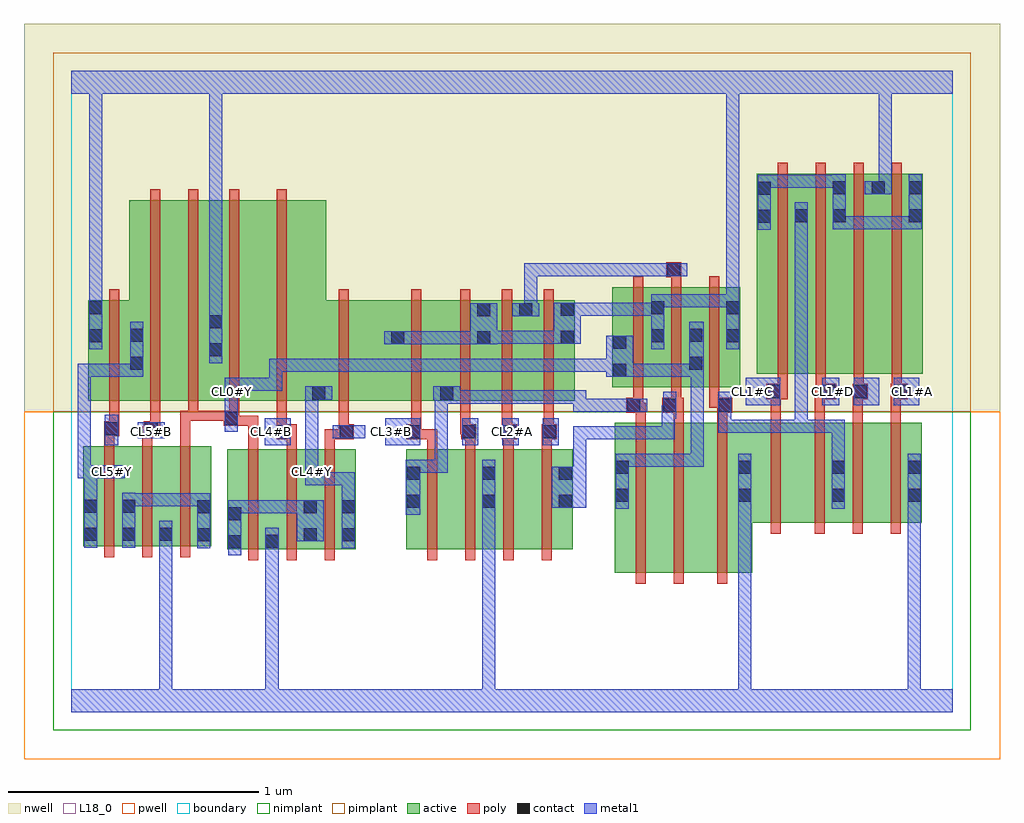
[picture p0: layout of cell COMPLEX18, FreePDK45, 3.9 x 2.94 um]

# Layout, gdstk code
import gdstk
lib = gdstk.Library(unit=1e-6, precision=1e-09)
def R(c, l, rs):  # rectangles x0, y0, x1, y1
    for r in rs: c.add(gdstk.rectangle(r[:2], r[2:], *l))
def A(c, l, x, y, w, h, nx, ny, dx, dy):  # array of equal rectangles
    R(c, l, [(x+i*dx, y+j*dy, x+i*dx+w, y+j*dy+h) for i in range(nx) for j in range(ny)])
active = (1, 0)
pwell = (2, 0)
nwell = (3, 0)
nimplant = (4, 0)
pimplant = (5, 0)
poly = (9, 0)
contact = (10, 0)
metal1 = (11, 0)
L18_0 = (18, 0)
boundary = (235, 0)

complex18 = lib.new_cell('COMPLEX18')
R(complex18, active, [(2.17,0.556,2.35,1.156), (2.17,0.556,2.23,1.156), (2.35,0.556,2.524,1.156), (2.524,0.556,2.72,1.156), (2.66,0.556,2.72,1.034), (0.624,0.65,0.684,1.05), (0.624,0.65,0.832,1.05), (0.772,0.65,0.984,1.05), (0.924,0.65,1.136,1.05), (0.924,0.65,0.984,0.85), (1.076,0.65,1.136,1.05), (1.338,0.65,1.518,1.05), (1.518,0.65,1.698,1.05), (1.638,0.65,1.822,1.05), (1.822,0.65,2.002,1.05), (0.772,0.652,0.832,0.712), (0.048,0.662,0.108,1.062), (0.048,0.662,0.26,1.062), (0.2,0.662,0.408,1.062), (0.2,0.662,0.26,0.852), (0.348,0.662,0.56,1.062), (0.348,0.662,0.408,0.838), (0.5,0.662,0.56,1.062), (1.338,0.756,1.398,1.05), (1.638,0.756,1.698,0.984), (1.942,0.756,2.002,1.05), (2.66,0.756,2.912,1.156), (2.912,0.756,3.092,1.156), (3.032,0.756,3.092,1.156), (3.032,0.756,3.216,1.156), (3.216,0.756,3.396,1.156), (3.336,0.756,3.396,1.156), (0.068,1.244,0.128,1.644), (0.068,1.244,0.292,1.644), (0.232,1.244,0.412,2.044), (0.412,1.244,0.608,2.044), (0.548,1.244,0.608,2.044), (0.548,1.244,0.764,2.044), (0.764,1.244,1.018,2.044), (0.958,1.244,1.018,1.644), (0.958,1.244,1.334,1.644), (1.274,1.244,1.53,1.644), (1.47,1.244,1.53,1.644), (1.47,1.244,1.678,1.644), (1.618,1.244,1.844,1.644), (1.784,1.244,2.01,1.644), (1.95,1.244,2.01,1.644), (2.16,1.296,2.372,1.696), (2.16,1.296,2.22,1.644), (2.312,1.296,2.524,1.696), (2.464,1.296,2.672,1.696), (2.612,1.296,2.672,1.644), (2.736,1.35,2.944,2.15), (2.736,1.35,2.796,2.122), (2.884,1.35,3.096,2.15), (2.884,1.35,2.944,2.044), (3.036,1.35,3.096,2.15), (3.036,1.35,3.252,2.15), (3.192,1.35,3.4,2.15), (3.192,1.35,3.252,2.15), (3.34,1.35,3.4,2.124), (0.232,1.362,0.292,1.644), (2.464,1.362,2.524,1.644), (1.784,1.364,1.844,1.644), (1.274,1.464,1.334,1.644), (1.618,1.464,1.678,1.644), (2.312,1.472,2.372,1.644)])
R(complex18, pwell, [(-0.188,-0.188,3.708,1.2)])
R(complex18, nwell, [(-0.188,1.2,3.708,2.748)])
R(complex18, nimplant, [(-0.072,-0.072,3.592,1.2)])
R(complex18, pimplant, [(-0.072,1.2,3.592,2.632)])
A(complex18, poly, 0.708, 0.606, 0.04, 0.488, 3, 1, 0.152, 0)
A(complex18, poly, 1.422, 0.606, 0.04, 0.488, 4, 1, 0.152, 0)
A(complex18, poly, 0.132, 0.618, 0.04, 0.488, 3, 1, 0.152, 0)
A(complex18, poly, 2.968, 0.712, 0.04, 0.488, 3, 1, 0.152, 0)
A(complex18, poly, 1.422, 1.054, 0.04, 0.076, 4, 1, 0.152, 0)
A(complex18, poly, 1.554, 1.11, 0.04, 0.13, 3, 1, 0.166, 0)
A(complex18, poly, 2.968, 1.16, 0.04, 0.13, 3, 1, 0.152, 0)
A(complex18, poly, 1.554, 1.2, 0.04, 0.488, 3, 1, 0.166, 0)
A(complex18, poly, 2.244, 1.216, 0.04, 0.076, 3, 1, 0.152, 0)
A(complex18, poly, 2.244, 1.252, 0.04, 0.488, 3, 1, 0.152, 0)
A(complex18, poly, 2.82, 1.27, 0.04, 0.076, 4, 1, 0.152, 0)
A(complex18, poly, 2.82, 1.306, 0.04, 0.888, 4, 1, 0.152, 0)
R(complex18, poly, [(2.254,0.512,2.294,1.2), (2.406,0.512,2.446,1.2), (2.58,0.512,2.62,1.2), (2.792,0.712,2.832,1.2), (0.708,1.054,0.748,1.184), (0.86,1.054,0.9,1.13), (1.012,1.054,1.052,1.13), (0.132,1.066,0.172,1.142), (0.284,1.066,0.324,1.142), (0.436,1.066,0.476,1.204), (0.82,1.09,0.9,1.15), (1.012,1.09,1.108,1.13), (1.068,1.09,1.108,1.13), (1.068,1.09,1.128,1.15), (1.338,1.09,1.398,1.15), (1.358,1.09,1.398,1.13), (1.358,1.09,1.462,1.13), (1.558,1.09,1.618,1.15), (1.72,1.09,1.78,1.15), (1.878,1.09,1.938,1.15), (0.132,1.102,0.172,1.142), (0.132,1.102,0.172,1.142), (0.132,1.102,0.192,1.162), (0.284,1.102,0.33,1.142), (0.29,1.102,0.33,1.142), (0.29,1.102,0.356,1.162), (0.82,1.11,0.86,1.15), (0.82,1.11,0.86,1.15), (0.82,1.11,0.86,1.24), (1.068,1.11,1.108,1.24), (1.358,1.11,1.398,1.24), (1.554,1.11,1.598,1.15), (1.558,1.11,1.598,1.15), (1.72,1.11,1.76,1.15), (1.72,1.11,1.76,1.15), (1.886,1.11,1.926,1.15), (1.886,1.11,1.926,1.15), (0.152,1.122,0.192,1.24), (0.316,1.122,0.356,1.24), (0.61,1.144,0.672,1.204), (0.632,1.144,0.672,1.184), (0.632,1.144,0.748,1.184), (2.254,1.16,2.294,1.236), (2.406,1.16,2.446,1.236), (2.58,1.16,2.62,1.236), (2.792,1.16,2.832,1.29), (0.436,1.164,0.476,1.204), (0.436,1.164,0.476,1.204), (0.436,1.164,0.508,1.204), (0.468,1.164,0.508,1.24), (0.468,1.164,0.508,1.204), (0.468,1.164,0.508,1.204), (0.468,1.164,0.65,1.204), (0.61,1.164,0.65,1.204), (0.61,1.164,0.65,1.204), (0.632,1.164,0.672,1.24), (2.216,1.196,2.284,1.256), (2.244,1.196,2.284,1.236), (2.244,1.196,2.294,1.236), (2.36,1.196,2.446,1.256), (2.58,1.196,2.64,1.256), (0.152,1.2,0.192,1.688), (0.316,1.2,0.356,2.088), (0.468,1.2,0.508,2.088), (0.632,1.2,0.672,2.088), (0.82,1.2,0.86,2.088), (1.068,1.2,1.108,1.688), (1.358,1.2,1.398,1.688), (2.396,1.216,2.436,1.256), (2.396,1.216,2.436,1.256), (2.548,1.216,2.62,1.256), (2.58,1.216,2.62,1.256), (2.774,1.25,2.86,1.31), (2.792,1.25,2.832,1.29), (2.792,1.25,2.832,1.29), (2.968,1.25,3.012,1.29), (2.972,1.25,3.012,1.29), (2.972,1.25,3.054,1.31), (3.12,1.25,3.16,1.29), (3.12,1.25,3.16,1.29), (3.12,1.25,3.18,1.31), (3.272,1.25,3.34,1.31), (3.276,1.27,3.316,1.31), (3.276,1.27,3.316,1.31), (2.396,1.7,2.436,1.776), (2.376,1.736,2.436,1.796)])
R(complex18, contact, [(0.628,0.654,0.68,0.706), (0.776,0.656,0.828,0.708), (0.504,0.682,0.556,0.734), (0.928,0.682,0.98,0.734), (1.08,0.682,1.132,0.734), (0.052,0.684,0.104,0.736), (0.204,0.684,0.256,0.736), (0.352,0.684,0.404,0.736), (0.628,0.766,0.68,0.818), (0.504,0.794,0.556,0.846), (0.928,0.794,0.98,0.846), (1.08,0.794,1.132,0.846), (0.052,0.796,0.104,0.848), (0.204,0.796,0.256,0.848), (1.342,0.816,1.394,0.868), (1.642,0.816,1.694,0.868), (1.946,0.816,1.998,0.868), (2.174,0.84,2.226,0.892), (2.664,0.84,2.716,0.892), (3.036,0.84,3.088,0.892), (3.34,0.84,3.392,0.892), (1.342,0.928,1.394,0.98), (1.642,0.928,1.694,0.98), (1.946,0.928,1.998,0.98), (2.174,0.952,2.226,1.004), (2.664,0.952,2.716,1.004), (3.036,0.952,3.088,1.004), (3.34,0.952,3.392,1.004), (0.824,1.094,0.876,1.146), (1.072,1.094,1.124,1.146), (1.342,1.094,1.394,1.146), (1.562,1.094,1.614,1.146), (1.724,1.094,1.776,1.146), (1.882,1.094,1.934,1.146), (0.136,1.106,0.188,1.158), (0.294,1.106,0.346,1.158), (0.614,1.148,0.666,1.2), (2.22,1.2,2.272,1.252), (2.364,1.2,2.416,1.252), (2.584,1.2,2.636,1.252), (0.962,1.248,1.014,1.3), (1.474,1.248,1.526,1.3), (2.778,1.254,2.83,1.306), (2.998,1.254,3.05,1.306), (3.124,1.254,3.176,1.306), (3.284,1.254,3.336,1.306), (2.164,1.338,2.216,1.39), (0.236,1.366,0.288,1.418), (2.468,1.366,2.52,1.418), (0.552,1.42,0.604,1.472), (2.164,1.45,2.216,1.502), (1.278,1.468,1.33,1.52), (1.622,1.468,1.674,1.52), (1.954,1.47,2.006,1.522), (0.072,1.476,0.124,1.528), (2.316,1.476,2.368,1.528), (2.616,1.476,2.668,1.528), (0.236,1.478,0.288,1.53), (2.468,1.478,2.52,1.53), (0.552,1.532,0.604,1.584), (1.622,1.58,1.674,1.632), (1.788,1.58,1.84,1.632), (1.954,1.582,2.006,1.634), (0.072,1.588,0.124,1.64), (2.316,1.588,2.368,1.64), (2.616,1.588,2.668,1.64), (2.38,1.74,2.432,1.792), (2.74,1.954,2.792,2.006), (2.888,1.956,2.94,2.008), (3.04,1.956,3.092,2.008), (3.344,1.956,3.396,2.008), (2.74,2.066,2.792,2.118), (3.04,2.068,3.092,2.12), (3.196,2.068,3.248,2.12), (3.344,2.068,3.396,2.12)])
A(complex18, metal1, 1.562, 1.066, 0.064, 0.108, 3, 1, 0.16, 0)
R(complex18, metal1, [(0,0,3.52,0.092), (0.352,0.04,0.404,0.092), (0.352,0.04,0.404,0.092), (0.352,0.04,0.404,0.092), (0.352,0.04,0.404,0.092), (0.352,0.04,0.404,0.092), (0.352,0.04,0.404,0.092), (0.352,0.04,0.404,0.092), (0.352,0.04,0.404,0.092), (0.352,0.04,0.404,0.092), (0.352,0.04,0.404,0.092), (0.352,0.04,0.404,0.708), (0.776,0.04,0.828,0.164), (1.642,0.04,1.694,0.84), (2.664,0.04,2.716,0.092), (2.664,0.04,2.716,0.092), (2.664,0.04,2.716,0.092), (2.664,0.04,2.716,0.092), (2.664,0.04,2.716,0.092), (2.664,0.04,2.716,0.092), (2.664,0.04,2.716,0.092), (2.664,0.04,2.716,0.092), (2.664,0.04,2.716,0.864), (3.34,0.04,3.392,0.092), (3.34,0.04,3.392,0.092), (3.34,0.04,3.392,0.092), (3.34,0.04,3.392,0.092), (3.34,0.04,3.392,0.092), (3.34,0.04,3.392,0.092), (3.34,0.04,3.392,0.092), (3.34,0.04,3.392,0.092), (3.34,0.04,3.392,0.092), (3.34,0.04,3.392,0.092), (3.34,0.04,3.392,0.092), (3.34,0.04,3.392,0.092), (3.34,0.04,3.392,0.864), (0.776,0.112,0.828,0.164), (0.776,0.112,0.828,0.164), (0.776,0.112,0.828,0.164), (0.776,0.112,0.828,0.164), (0.776,0.112,0.828,0.164), (0.776,0.112,0.828,0.164), (0.776,0.112,0.828,0.164), (0.776,0.112,0.828,0.164), (0.776,0.112,0.828,0.164), (0.776,0.112,0.828,0.164), (0.776,0.112,0.828,0.164), (0.776,0.112,0.828,0.68), (0.628,0.626,0.68,0.846), (0.776,0.628,0.828,0.736), (0.504,0.654,0.556,0.874), (1.08,0.654,1.132,0.874), (0.052,0.656,0.104,0.876), (0.204,0.656,0.256,0.876), (0.352,0.656,0.404,0.708), (0.352,0.656,0.404,0.708), (0.352,0.656,0.404,0.764), (0.9,0.682,1.008,0.846), (1.336,0.788,1.394,1.008), (1.642,0.788,1.694,0.84), (1.642,0.788,1.694,0.84), (1.642,0.788,1.694,0.84), (1.642,0.788,1.694,0.84), (1.642,0.788,1.694,0.84), (1.642,0.788,1.694,0.84), (1.642,0.788,1.694,0.84), (1.642,0.788,1.694,0.84), (1.642,0.788,1.694,0.84), (1.642,0.788,1.694,0.84), (1.642,0.788,1.694,0.84), (1.642,0.788,1.694,0.84), (1.642,0.788,1.694,1.008), (0.628,0.794,0.68,0.846), (0.628,0.794,0.68,0.846), (0.628,0.794,0.842,0.846), (0.79,0.794,0.842,0.846), (0.79,0.794,0.842,0.846), (0.79,0.794,0.842,0.846), (0.79,0.794,0.952,0.846), (2.174,0.812,2.226,1.032), (2.664,0.812,2.716,1.032), (3.036,0.812,3.088,1.032), (3.34,0.812,3.392,1.032), (1.918,0.816,2.056,0.98), (0.204,0.822,0.292,0.874), (0.24,0.822,0.292,0.874), (0.24,0.822,0.446,0.874), (0.394,0.822,0.446,0.874), (0.394,0.822,0.556,0.874), (0.504,0.822,0.556,0.874), (0.504,0.822,0.556,0.874), (1.08,0.822,1.132,0.958), (0.052,0.824,0.104,0.986), (0.934,0.906,0.986,0.958), (0.934,0.906,0.986,0.958), (0.934,0.906,0.986,1.014), (0.934,0.906,1.132,0.958), (1.08,0.906,1.132,0.958), (2.004,0.928,2.056,1.142), (0.026,0.934,0.078,0.986), (0.026,0.934,0.078,0.986), (0.026,0.934,0.078,1.39), (0.026,0.934,0.214,0.986), (1.336,0.956,1.388,1.008), (1.336,0.956,1.388,1.008), (1.336,0.956,1.388,1.008), (1.336,0.956,1.388,1.008), (1.336,0.956,1.504,1.008), (1.452,0.956,1.504,1.008), (1.452,0.956,1.504,1.284), (0.934,0.962,0.986,1.014), (0.934,0.962,0.986,1.014), (0.934,0.962,0.986,1.3), (2.174,0.98,2.226,1.032), (2.174,0.98,2.226,1.032), (2.174,0.98,2.368,1.032), (2.316,0.98,2.368,1.032), (2.316,0.98,2.368,1.032), (2.316,0.98,2.368,1.032), (2.316,0.98,2.526,1.032), (2.474,0.98,2.526,1.032), (2.474,0.98,2.526,1.39), (3.036,0.98,3.088,1.168), (0.134,1.066,0.188,1.188), (0.774,1.066,0.876,1.174), (1.254,1.066,1.394,1.174), (2.004,1.09,2.056,1.142), (2.004,1.09,2.056,1.142), (2.004,1.09,2.056,1.142), (2.004,1.09,2.186,1.142), (2.134,1.09,2.186,1.142), (2.134,1.09,2.41,1.142), (2.358,1.09,2.41,1.224), (0.266,1.094,0.374,1.158), (1.044,1.094,1.174,1.146), (2.584,1.116,2.636,1.224), (2.584,1.116,2.83,1.168), (2.778,1.116,2.83,1.168), (2.778,1.116,2.83,1.168), (2.778,1.116,2.83,1.168), (2.778,1.116,2.94,1.168), (2.888,1.116,2.94,1.168), (2.888,1.116,2.94,1.168), (2.888,1.116,2.94,1.168), (2.888,1.116,3.088,1.168), (2.888,1.116,2.94,1.98), (3.036,1.116,3.088,1.168), (0.614,1.12,0.666,1.334), (2.358,1.172,2.416,1.224), (2.364,1.172,2.416,1.28), (2.584,1.172,2.636,1.224), (2.584,1.172,2.636,1.28), (2.004,1.2,2.056,1.252), (2.004,1.2,2.056,1.252), (2.004,1.2,2.244,1.252), (2.004,1.2,2.056,1.284), (2.192,1.2,2.3,1.252), (2.694,1.226,2.83,1.334), (2.998,1.226,3.066,1.334), (3.124,1.226,3.226,1.334), (3.284,1.226,3.386,1.334), (1.452,1.232,1.504,1.284), (1.452,1.232,1.504,1.284), (1.452,1.232,1.504,1.284), (1.452,1.232,1.664,1.284), (1.452,1.232,1.504,1.3), (1.612,1.232,1.664,1.284), (1.612,1.232,1.664,1.284), (1.612,1.232,1.664,1.284), (1.612,1.232,1.86,1.284), (1.808,1.232,1.86,1.284), (1.808,1.232,1.86,1.284), (1.808,1.232,1.86,1.284), (1.808,1.232,2.056,1.284), (0.934,1.248,1.042,1.3), (1.446,1.248,1.554,1.3), (0.614,1.282,0.842,1.334), (0.79,1.282,0.842,1.334), (0.79,1.282,0.842,1.41), (0.026,1.338,0.078,1.39), (0.026,1.338,0.078,1.39), (0.026,1.338,0.078,1.39), (0.026,1.338,0.288,1.39), (0.236,1.338,0.288,1.558), (2.136,1.338,2.244,1.502), (2.192,1.338,2.244,1.39), (2.192,1.338,2.244,1.39), (2.192,1.338,2.368,1.39), (2.316,1.338,2.368,1.39), (2.316,1.338,2.368,1.39), (2.316,1.338,2.368,1.39), (2.316,1.338,2.52,1.39), (2.468,1.338,2.526,1.558), (2.474,1.338,2.526,1.39), (2.474,1.338,2.526,1.39), (2.474,1.338,2.526,1.39), (2.474,1.338,2.526,1.39), (0.79,1.358,0.842,1.41), (0.79,1.358,0.842,1.41), (0.79,1.358,0.842,1.41), (0.79,1.358,0.842,1.41), (0.79,1.358,0.842,1.41), (0.79,1.358,0.986,1.41), (0.934,1.358,0.986,1.41), (0.934,1.358,0.986,1.41), (0.934,1.358,0.986,1.41), (0.934,1.358,1.132,1.41), (1.08,1.358,1.132,1.41), (1.08,1.358,1.242,1.41), (1.19,1.358,1.242,1.41), (1.19,1.358,1.242,1.41), (1.19,1.358,1.242,1.41), (1.19,1.358,1.536,1.41), (1.484,1.358,1.536,1.41), (1.484,1.358,1.536,1.41), (1.484,1.358,1.536,1.41), (1.484,1.358,1.67,1.41), (1.618,1.358,1.67,1.41), (1.618,1.358,1.67,1.41), (1.618,1.358,1.67,1.41), (1.618,1.358,1.67,1.41), (1.618,1.358,1.67,1.41), (1.618,1.358,1.86,1.41), (1.808,1.358,1.86,1.41), (1.808,1.358,1.86,1.41), (1.808,1.358,1.86,1.41), (1.808,1.358,1.97,1.41), (1.918,1.358,1.97,1.41), (1.918,1.358,2.188,1.41), (0.552,1.392,0.604,1.612), (0.072,1.448,0.124,1.668), (2.316,1.448,2.368,1.668), (2.616,1.448,2.668,1.668), (1.25,1.468,1.358,1.52), (1.306,1.468,1.358,1.52), (1.306,1.468,1.358,1.52), (1.306,1.468,1.536,1.52), (1.484,1.468,1.536,1.52), (1.484,1.468,1.536,1.52), (1.484,1.468,1.536,1.52), (1.484,1.468,1.646,1.52), (1.594,1.468,1.702,1.632), (1.65,1.47,1.702,1.522), (1.65,1.47,1.702,1.522), (1.65,1.47,1.812,1.522), (1.76,1.47,1.812,1.522), (1.76,1.47,1.812,1.522), (1.76,1.47,1.812,1.522), (1.76,1.47,1.978,1.522), (1.926,1.47,1.978,1.522), (1.926,1.47,1.978,1.522), (1.926,1.47,2.034,1.634), (0.552,1.56,0.604,2.52), (1.76,1.58,1.868,1.632), (1.808,1.58,1.86,1.792), (1.982,1.582,2.176,1.634), (2.124,1.582,2.176,1.634), (2.124,1.582,2.176,1.634), (2.124,1.582,2.176,1.634), (2.124,1.582,2.368,1.634), (0.072,1.616,0.124,1.668), (0.072,1.616,0.124,1.668), (0.072,1.616,0.124,1.668), (0.072,1.616,0.124,1.668), (0.072,1.616,0.124,2.52), (2.316,1.616,2.368,1.668), (2.316,1.616,2.368,1.668), (2.316,1.616,2.526,1.668), (2.474,1.616,2.526,1.668), (2.474,1.616,2.526,1.668), (2.474,1.616,2.526,1.668), (2.474,1.616,2.668,1.668), (2.616,1.616,2.668,2.52), (1.808,1.74,1.86,1.792), (1.808,1.74,1.86,1.792), (1.808,1.74,1.86,1.792), (1.808,1.74,2.066,1.792), (2.014,1.74,2.066,1.792), (2.014,1.74,2.066,1.792), (2.014,1.74,2.066,1.792), (2.014,1.74,2.258,1.792), (2.206,1.74,2.258,1.792), (2.206,1.74,2.404,1.792), (2.352,1.74,2.404,1.792), (2.352,1.74,2.404,1.792), (2.352,1.74,2.46,1.792), (2.74,1.926,2.792,2.146), (2.888,1.928,2.94,1.98), (2.888,1.928,2.94,1.98), (2.888,1.928,2.94,2.036), (3.04,1.928,3.092,1.98), (3.04,1.928,3.092,1.98), (3.04,1.928,3.092,1.98), (3.04,1.928,3.092,1.98), (3.04,1.928,3.092,2.148), (3.04,1.928,3.282,1.98), (3.23,1.928,3.282,1.98), (3.23,1.928,3.396,1.98), (3.344,1.928,3.396,1.98), (3.344,1.928,3.396,1.98), (3.344,1.928,3.396,2.148), (3.168,2.068,3.276,2.12), (3.224,2.068,3.276,2.12), (3.224,2.068,3.276,2.12), (3.224,2.068,3.276,2.52), (2.74,2.094,2.792,2.146), (2.74,2.094,2.792,2.146), (2.74,2.094,2.978,2.146), (2.926,2.094,2.978,2.146), (2.926,2.094,2.978,2.146), (2.926,2.094,2.978,2.146), (2.926,2.094,3.092,2.146), (0,2.468,3.52,2.56), (0.072,2.468,0.124,2.52), (0.072,2.468,0.124,2.52), (0.072,2.468,0.124,2.52), (0.072,2.468,0.124,2.52), (0.072,2.468,0.124,2.52), (0.072,2.468,0.124,2.52), (0.072,2.468,0.124,2.52), (0.072,2.468,0.124,2.52), (0.072,2.468,0.124,2.52), (0.072,2.468,0.124,2.52), (0.072,2.468,0.124,2.52), (0.072,2.468,0.124,2.52), (0.552,2.468,0.604,2.52), (0.552,2.468,0.604,2.52), (0.552,2.468,0.604,2.52), (0.552,2.468,0.604,2.52), (0.552,2.468,0.604,2.52), (0.552,2.468,0.604,2.52), (0.552,2.468,0.604,2.52), (0.552,2.468,0.604,2.52), (2.616,2.468,2.668,2.52), (2.616,2.468,2.668,2.52), (2.616,2.468,2.668,2.52), (2.616,2.468,2.668,2.52), (2.616,2.468,2.668,2.52), (2.616,2.468,2.668,2.52), (2.616,2.468,2.668,2.52), (2.616,2.468,2.668,2.52), (2.616,2.468,2.668,2.52), (2.616,2.468,2.668,2.52), (2.616,2.468,2.668,2.52), (2.616,2.468,2.668,2.52), (2.616,2.468,2.668,2.52), (2.616,2.468,2.668,2.52), (2.616,2.468,2.668,2.52), (2.616,2.468,2.668,2.52), (3.224,2.468,3.276,2.52), (3.224,2.468,3.276,2.52), (3.224,2.468,3.276,2.52), (3.224,2.468,3.276,2.52), (3.224,2.468,3.276,2.52), (3.224,2.468,3.276,2.52)])
A(complex18, L18_0, 0.934, 0.906, 0.052, 0.052, 1, 3, 0, 0.028)
A(complex18, L18_0, 1.562, 1.066, 0.064, 0.108, 3, 1, 0.16, 0)
A(complex18, L18_0, 1.574, 1.094, 0.052, 0.052, 3, 1, 0.16, 0)
A(complex18, L18_0, 3.014, 1.254, 0.052, 0.052, 3, 1, 0.16, 0)
R(complex18, L18_0, [(0,0,3.52,0.092), (0.352,0.04,0.404,0.092), (0.352,0.04,0.404,0.092), (0.352,0.04,0.404,0.092), (0.352,0.04,0.404,0.092), (0.352,0.04,0.404,0.092), (0.352,0.04,0.404,0.092), (0.352,0.04,0.404,0.092), (0.352,0.04,0.404,0.092), (0.352,0.04,0.404,0.092), (0.352,0.04,0.404,0.092), (0.352,0.04,0.404,0.708), (0.776,0.04,0.828,0.164), (1.642,0.04,1.694,0.84), (2.664,0.04,2.716,0.092), (2.664,0.04,2.716,0.092), (2.664,0.04,2.716,0.092), (2.664,0.04,2.716,0.092), (2.664,0.04,2.716,0.092), (2.664,0.04,2.716,0.092), (2.664,0.04,2.716,0.092), (2.664,0.04,2.716,0.092), (2.664,0.04,2.716,0.864), (3.34,0.04,3.392,0.092), (3.34,0.04,3.392,0.092), (3.34,0.04,3.392,0.092), (3.34,0.04,3.392,0.092), (3.34,0.04,3.392,0.092), (3.34,0.04,3.392,0.092), (3.34,0.04,3.392,0.092), (3.34,0.04,3.392,0.092), (3.34,0.04,3.392,0.092), (3.34,0.04,3.392,0.092), (3.34,0.04,3.392,0.092), (3.34,0.04,3.392,0.092), (3.34,0.04,3.392,0.864), (0.776,0.112,0.828,0.164), (0.776,0.112,0.828,0.164), (0.776,0.112,0.828,0.164), (0.776,0.112,0.828,0.164), (0.776,0.112,0.828,0.164), (0.776,0.112,0.828,0.164), (0.776,0.112,0.828,0.164), (0.776,0.112,0.828,0.164), (0.776,0.112,0.828,0.164), (0.776,0.112,0.828,0.164), (0.776,0.112,0.828,0.164), (0.776,0.112,0.828,0.68), (0.776,0.628,0.828,0.736), (1.08,0.654,1.132,0.874), (0.052,0.656,0.104,0.876), (0.352,0.656,0.404,0.708), (0.352,0.656,0.404,0.708), (0.352,0.656,0.404,0.764), (1.642,0.788,1.694,1.008), (1.642,0.788,1.694,0.84), (1.642,0.788,1.694,0.84), (1.642,0.788,1.694,0.84), (1.642,0.788,1.694,0.84), (1.642,0.788,1.694,0.84), (1.642,0.788,1.694,0.84), (1.642,0.788,1.694,0.84), (1.642,0.788,1.694,0.84), (1.642,0.788,1.694,0.84), (1.642,0.788,1.694,0.84), (1.642,0.788,1.694,0.84), (1.642,0.788,1.694,0.84), (2.174,0.812,2.226,1.032), (2.664,0.812,2.716,1.032), (3.34,0.812,3.392,1.032), (1.08,0.822,1.132,0.958), (0.052,0.824,0.104,0.986), (0.934,0.906,0.986,0.958), (0.934,0.906,0.986,1.014), (0.934,0.906,1.132,0.958), (1.08,0.906,1.132,0.958), (0.026,0.934,0.214,0.986), (0.026,0.934,0.078,0.986), (0.026,0.934,0.078,0.986), (0.026,0.934,0.078,1.39), (0.134,0.934,0.186,0.986), (0.934,0.962,0.986,1.014), (0.934,0.962,0.986,1.3), (2.174,0.98,2.226,1.032), (2.174,0.98,2.226,1.032), (2.174,0.98,2.368,1.032), (2.316,0.98,2.368,1.032), (2.316,0.98,2.368,1.032), (2.316,0.98,2.368,1.032), (2.316,0.98,2.526,1.032), (2.474,0.98,2.526,1.032), (2.474,0.98,2.526,1.39), (0.134,1.066,0.188,1.188), (0.774,1.066,0.876,1.174), (1.254,1.066,1.394,1.174), (0.134,1.094,0.186,1.146), (0.266,1.094,0.374,1.158), (0.294,1.094,0.346,1.146), (0.774,1.094,0.826,1.146), (1.044,1.094,1.174,1.146), (1.094,1.094,1.146,1.146), (1.254,1.094,1.306,1.146), (0.614,1.12,0.666,1.334), (2.694,1.226,2.83,1.334), (2.998,1.226,3.066,1.334), (3.124,1.226,3.226,1.334), (3.284,1.226,3.386,1.334), (0.934,1.248,1.042,1.3), (0.614,1.254,0.666,1.306), (2.694,1.254,2.746,1.306), (0.614,1.282,0.842,1.334), (0.79,1.282,0.842,1.334), (0.79,1.282,0.842,1.41), (0.026,1.338,0.078,1.39), (0.026,1.338,0.078,1.39), (0.026,1.338,0.078,1.39), (0.026,1.338,0.288,1.39), (0.236,1.338,0.288,1.558), (2.136,1.338,2.244,1.502), (2.192,1.338,2.244,1.39), (2.192,1.338,2.244,1.39), (2.192,1.338,2.368,1.39), (2.316,1.338,2.368,1.39), (2.316,1.338,2.368,1.39), (2.316,1.338,2.368,1.39), (2.316,1.338,2.52,1.39), (2.468,1.338,2.526,1.558), (2.474,1.338,2.526,1.39), (2.474,1.338,2.526,1.39), (2.474,1.338,2.526,1.39), (2.474,1.338,2.526,1.39), (0.79,1.358,0.842,1.41), (0.79,1.358,0.842,1.41), (0.79,1.358,0.842,1.41), (0.79,1.358,0.842,1.41), (0.79,1.358,0.842,1.41), (0.79,1.358,0.986,1.41), (0.934,1.358,0.986,1.41), (0.934,1.358,0.986,1.41), (0.934,1.358,0.986,1.41), (0.934,1.358,1.132,1.41), (1.08,1.358,1.132,1.41), (1.08,1.358,1.242,1.41), (1.19,1.358,1.242,1.41), (1.19,1.358,1.242,1.41), (1.19,1.358,1.242,1.41), (1.19,1.358,1.536,1.41), (1.484,1.358,1.536,1.41), (1.484,1.358,1.536,1.41), (1.484,1.358,1.536,1.41), (1.484,1.358,1.67,1.41), (1.618,1.358,1.67,1.41), (1.618,1.358,1.67,1.41), (1.618,1.358,1.67,1.41), (1.618,1.358,1.67,1.41), (1.618,1.358,1.67,1.41), (1.618,1.358,1.86,1.41), (1.808,1.358,1.86,1.41), (1.808,1.358,1.86,1.41), (1.808,1.358,1.86,1.41), (1.808,1.358,1.97,1.41), (1.918,1.358,1.97,1.41), (1.918,1.358,2.188,1.41), (0.552,1.392,0.604,1.612), (0.072,1.448,0.124,1.668), (2.316,1.448,2.368,1.668), (2.616,1.448,2.668,1.668), (1.25,1.468,1.358,1.52), (1.306,1.468,1.358,1.52), (1.306,1.468,1.358,1.52), (1.306,1.468,1.536,1.52), (1.484,1.468,1.536,1.52), (1.484,1.468,1.536,1.52), (1.484,1.468,1.536,1.52), (1.484,1.468,1.646,1.52), (1.594,1.468,1.702,1.632), (1.65,1.47,1.702,1.522), (1.65,1.47,1.702,1.522), (1.65,1.47,1.812,1.522), (1.76,1.47,1.812,1.522), (1.76,1.47,1.812,1.522), (1.76,1.47,1.812,1.522), (1.76,1.47,1.978,1.522), (1.926,1.47,1.978,1.522), (1.926,1.47,1.978,1.522), (1.926,1.47,2.034,1.634), (0.552,1.56,0.604,2.52), (1.982,1.582,2.176,1.634), (2.124,1.582,2.176,1.634), (2.124,1.582,2.176,1.634), (2.124,1.582,2.176,1.634), (2.124,1.582,2.368,1.634), (0.072,1.616,0.124,1.668), (0.072,1.616,0.124,1.668), (0.072,1.616,0.124,1.668), (0.072,1.616,0.124,1.668), (0.072,1.616,0.124,2.52), (2.316,1.616,2.368,1.668), (2.316,1.616,2.368,1.668), (2.316,1.616,2.526,1.668), (2.474,1.616,2.526,1.668), (2.474,1.616,2.526,1.668), (2.474,1.616,2.526,1.668), (2.474,1.616,2.668,1.668), (2.616,1.616,2.668,2.52), (3.168,2.068,3.276,2.12), (3.224,2.068,3.276,2.12), (3.224,2.068,3.276,2.12), (3.224,2.068,3.276,2.52), (0,2.468,3.52,2.56), (0.072,2.468,0.124,2.52), (0.072,2.468,0.124,2.52), (0.072,2.468,0.124,2.52), (0.072,2.468,0.124,2.52), (0.072,2.468,0.124,2.52), (0.072,2.468,0.124,2.52), (0.072,2.468,0.124,2.52), (0.072,2.468,0.124,2.52), (0.072,2.468,0.124,2.52), (0.072,2.468,0.124,2.52), (0.072,2.468,0.124,2.52), (0.072,2.468,0.124,2.52), (0.552,2.468,0.604,2.52), (0.552,2.468,0.604,2.52), (0.552,2.468,0.604,2.52), (0.552,2.468,0.604,2.52), (0.552,2.468,0.604,2.52), (0.552,2.468,0.604,2.52), (0.552,2.468,0.604,2.52), (0.552,2.468,0.604,2.52), (2.616,2.468,2.668,2.52), (2.616,2.468,2.668,2.52), (2.616,2.468,2.668,2.52), (2.616,2.468,2.668,2.52), (2.616,2.468,2.668,2.52), (2.616,2.468,2.668,2.52), (2.616,2.468,2.668,2.52), (2.616,2.468,2.668,2.52), (2.616,2.468,2.668,2.52), (2.616,2.468,2.668,2.52), (2.616,2.468,2.668,2.52), (2.616,2.468,2.668,2.52), (2.616,2.468,2.668,2.52), (2.616,2.468,2.668,2.52), (2.616,2.468,2.668,2.52), (2.616,2.468,2.668,2.52), (3.224,2.468,3.276,2.52), (3.224,2.468,3.276,2.52), (3.224,2.468,3.276,2.52), (3.224,2.468,3.276,2.52), (3.224,2.468,3.276,2.52), (3.224,2.468,3.276,2.52)])
R(complex18, boundary, [(0,0,3.52,2.56)])
complex18.add(gdstk.Label('CL0#Y', (0.64,1.28), layer=11, texttype=0))
complex18.add(gdstk.Label('CL1#A', (3.36,1.28), layer=11, texttype=0))
complex18.add(gdstk.Label('CL1#B', (3.2,1.28), layer=11, texttype=0))
complex18.add(gdstk.Label('CL1#C', (2.72,1.28), layer=11, texttype=0))
complex18.add(gdstk.Label('CL1#D', (3.04,1.28), layer=11, texttype=0))
complex18.add(gdstk.Label('CL2#A', (1.76,1.12), layer=11, texttype=0))
complex18.add(gdstk.Label('CL2#B', (1.92,1.12), layer=11, texttype=0))
complex18.add(gdstk.Label('CL3#A', (1.6,1.12), layer=11, texttype=0))
complex18.add(gdstk.Label('CL3#B', (1.28,1.12), layer=11, texttype=0))
complex18.add(gdstk.Label('CL4#B', (0.8,1.12), layer=11, texttype=0))
complex18.add(gdstk.Label('CL4#C', (1.12,1.12), layer=11, texttype=0))
complex18.add(gdstk.Label('CL4#Y', (0.96,0.96), layer=11, texttype=0))
complex18.add(gdstk.Label('CL5#B', (0.32,1.12), layer=11, texttype=0))
complex18.add(gdstk.Label('CL5#C', (0.16,1.12), layer=11, texttype=0))
complex18.add(gdstk.Label('CL5#Y', (0.16,0.96), layer=11, texttype=0))

lib.write_gds('COMPLEX18.gds')
